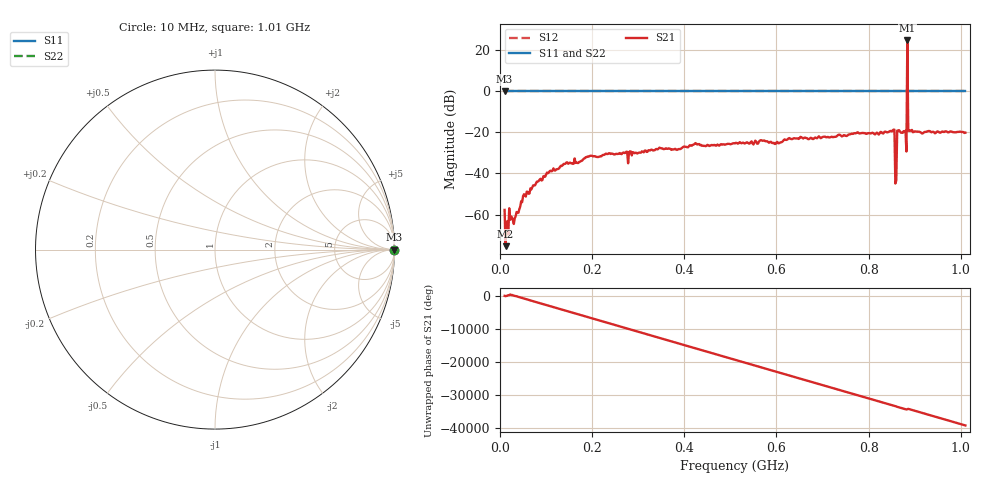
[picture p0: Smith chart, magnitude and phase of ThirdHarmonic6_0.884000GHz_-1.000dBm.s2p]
! 8/16/2025 5:06:15 AM
! C:\ANRITSUVNA\TEMP\TEMP.S2P
! CHANNEL.1
! TR.MEASUREMENT
! RAW.DATA
! RF.CORRECTION.OFF
! AVERAGING.OFF
! IF.BANDWIDTH: 5KHZ
! SWEEPTYPE:  FREQ.SWEEP(Linear)
! Reference Plane Port Info
! PORT:  PORT1  PORT2
! DISTANCE:  0  m  0  m
! TIME:  0  s  0  s
! PHASE.OFFSET:  0  deg.  0  deg.
! LOSS:  0  dB  0  dB
! REF.LOSS:  0  dB  0  dB
! REF.FREQ:  0  Hz  0  Hz
! Power Info
! POWER:  -20  dBm  -20  dBm
! EFF.POWER:  -20  dBm  -20  dBm
! SOURCE.ATTEN:  0  dB  0  dB
! TEST.ATTEN:  0  dB  0  dB
# GHZ S RI R 50.0
! FREQ.GHZ  S11RE  S11IM  S21RE  S21IM  S12RE  S12IM  S22RE  S22IM
!; PortSelection: Port_12
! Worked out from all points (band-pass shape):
!   501 points, 10 MHz to 1.01 GHz, reference 50 ohm
!   highest |S21| = 24.68 dB at 884 MHz (marker M1); lowest = -75.4 dB at 12 MHz (marker M2)
!   |S21| within 3 dB of the highest: 883.8889 MHz to 884.1373 MHz (248.4 kHz wide, 0.0281 % of centre)
!   lowest |S11| = 0.0 dB at 10 MHz (marker M3)
!   |S11| at or under -10 dB: nowhere
!   |S22| runs from 0.0 to 0.0 dB; largest |S21 - S12| = 16
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0.01  1 0  0.00127 -0.000271  1 0  1 0
0.012  1 0  -3.42e-05 -0.000167  1 0  1 0
0.016  1 0  0.000534 0.000443  1 0  1 0
0.024  1 0  -0.000282 -0.000861  1 0  1 0
0.034  1 0  0.00023 -0.000889  1 0  1 0
0.054  1 0  -0.00299 3.33e-05  1 0  1 0
0.106  1 0  -0.00732 -0.00765  1 0  1 0
0.178  1 0  -0.0199 -0.00456  1 0  1 0
0.344  1 0  0.0382 -0.0128  1 0  1 0
0.51  1 0  -0.0418 0.0342  1 0  1 0
0.678  1 0  -0.0565 -0.0399  1 0  1 0
0.844  1 0  0.1033 0.00575  1 0  1 0
0.852  1 0  0.0846 0.0712  1 0  1 0
0.856  1 0  -0.0696 -0.093  1 0  1 0
0.862  1 0  0.108 -0.0231  1 0  1 0
0.866  1 0  -0.1127 -0.00984  1 0  1 0
0.878  1 0  0.0435 0.0951  1 0  1 0
0.88  1 0  0.1058 -0.0269  1 0  1 0
0.884  1 0  16.64 -4.136  1 0  1 0
0.888  1 0  0.1026 0.033  1 0  1 0
0.89  1 0  0.0489 -0.0988  1 0  1 0
1.01  1 0  -0.0621 0.076  1 0  1 0
